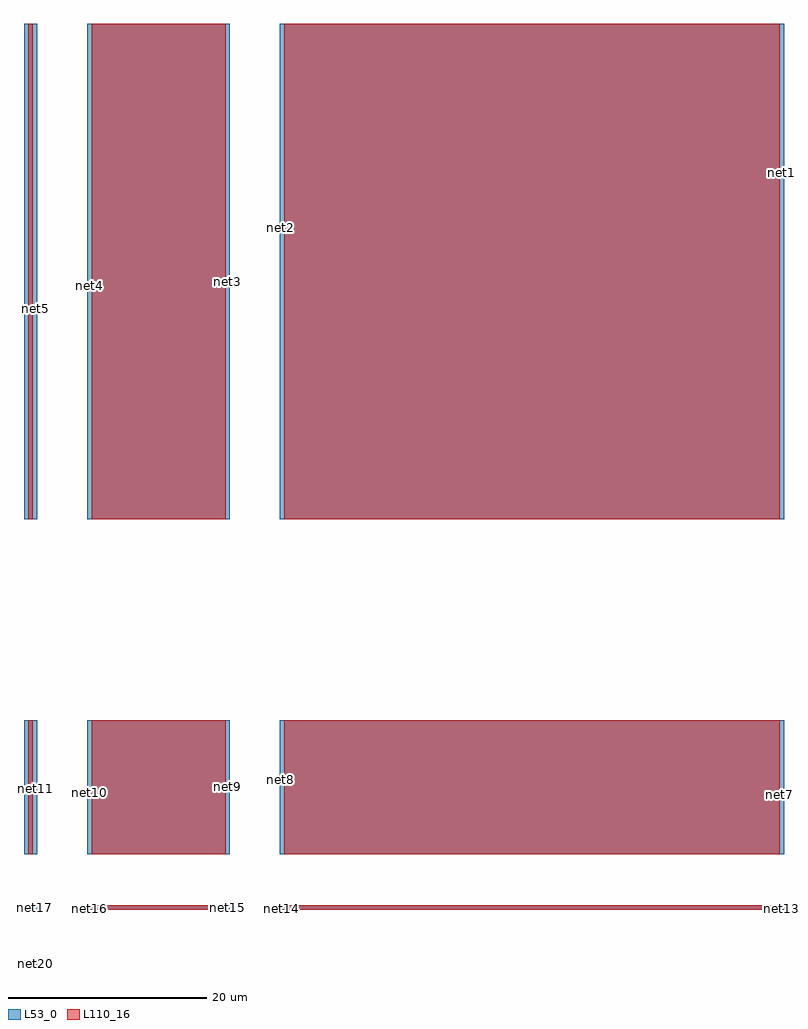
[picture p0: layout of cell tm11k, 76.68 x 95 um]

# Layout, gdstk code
import gdstk
lib = gdstk.Library(unit=1e-6, precision=1e-09)
def R(c, l, rs):  # rectangles x0, y0, x1, y1
    for r in rs: c.add(gdstk.rectangle(r[:2], r[2:], *l))
L53_0 = (53, 0)
L110_16 = (110, 16)

tm11k_cdns_630985877590 = lib.new_cell('tm11k_CDNS_630985877590')
R(tm11k_cdns_630985877590, L53_0, [(0,0,0.44,0.44), (0,0,1.32,0.44), (0.88,0,1.32,0.44)])
R(tm11k_cdns_630985877590, L110_16, [(0.44,0,0.88,0.44)])

tm11k_cdns_630985877591 = lib.new_cell('tm11k_CDNS_630985877591')
R(tm11k_cdns_630985877591, L53_0, [(0,0,0.44,0.44), (0,0,50.88,0.44), (50.44,0,50.88,0.44)])
R(tm11k_cdns_630985877591, L110_16, [(0.44,0,50.44,0.44)])

tm11k_cdns_630985877592 = lib.new_cell('tm11k_CDNS_630985877592')
R(tm11k_cdns_630985877592, L53_0, [(0,0,0.44,0.44), (0,0,1.32,0.44), (0.88,0,1.32,0.44)])
R(tm11k_cdns_630985877592, L110_16, [(0.44,0,0.88,0.44)])

tm11k_cdns_630985877593 = lib.new_cell('tm11k_CDNS_630985877593')
R(tm11k_cdns_630985877593, L53_0, [(0,0,0.44,0.44), (0,0,14.38,0.44), (13.94,0,14.38,0.44)])
R(tm11k_cdns_630985877593, L110_16, [(0.44,0,13.94,0.44)])

tm11k_cdns_630985877594 = lib.new_cell('tm11k_CDNS_630985877594')
R(tm11k_cdns_630985877594, L53_0, [(0,0,0.44,13.5), (0,0,50.88,13.5), (50.44,0,50.88,13.5)])
R(tm11k_cdns_630985877594, L110_16, [(0.44,0,50.44,13.5)])

tm11k_cdns_630985877595 = lib.new_cell('tm11k_CDNS_630985877595')
R(tm11k_cdns_630985877595, L53_0, [(0,0,0.44,13.5), (0,0,1.32,13.5), (0.88,0,1.32,13.5)])
R(tm11k_cdns_630985877595, L110_16, [(0.44,0,0.88,13.5)])

tm11k_cdns_630985877596 = lib.new_cell('tm11k_CDNS_630985877596')
R(tm11k_cdns_630985877596, L53_0, [(0,0,0.44,13.5), (0,0,14.38,13.5), (13.94,0,14.38,13.5)])
R(tm11k_cdns_630985877596, L110_16, [(0.44,0,13.94,13.5)])

tm11k_cdns_630985877597 = lib.new_cell('tm11k_CDNS_630985877597')
R(tm11k_cdns_630985877597, L53_0, [(0,0,0.44,50), (0,0,1.32,50), (0.88,0,1.32,50)])
R(tm11k_cdns_630985877597, L110_16, [(0.44,0,0.88,50)])

tm11k_cdns_630985877598 = lib.new_cell('tm11k_CDNS_630985877598')
R(tm11k_cdns_630985877598, L53_0, [(0,0,0.44,50), (0,0,14.38,50), (13.94,0,14.38,50)])
R(tm11k_cdns_630985877598, L110_16, [(0.44,0,13.94,50)])

tm11k_cdns_630985877599 = lib.new_cell('tm11k_CDNS_630985877599')
R(tm11k_cdns_630985877599, L53_0, [(0,0,0.44,50), (0,0,50.88,50), (50.44,0,50.88,50)])
R(tm11k_cdns_630985877599, L110_16, [(0.44,0,50.44,50)])

tm11k = lib.new_cell('tm11k')
tm11k.add(gdstk.Reference(tm11k_cdns_630985877590, (0,0)))
tm11k.add(gdstk.Reference(tm11k_cdns_630985877591, (25.8,5.6)))
tm11k.add(gdstk.Reference(tm11k_cdns_630985877592, (0,5.6)))
tm11k.add(gdstk.Reference(tm11k_cdns_630985877593, (6.4,5.6)))
tm11k.add(gdstk.Reference(tm11k_cdns_630985877594, (25.8,11.2)))
tm11k.add(gdstk.Reference(tm11k_cdns_630985877595, (0,11.2)))
tm11k.add(gdstk.Reference(tm11k_cdns_630985877596, (6.4,11.2)))
tm11k.add(gdstk.Reference(tm11k_cdns_630985877597, (0,45)))
tm11k.add(gdstk.Reference(tm11k_cdns_630985877598, (6.4,45)))
tm11k.add(gdstk.Reference(tm11k_cdns_630985877599, (25.8,45)))
tm11k.add(gdstk.Label('net20', (1.196,0.141), layer=53, texttype=10))
tm11k.add(gdstk.Label('net19', (0.219,0.209), layer=53, texttype=10))
tm11k.add(gdstk.Label('net1', (76.434,80.027), layer=53, texttype=10))
tm11k.add(gdstk.Label('net2', (25.834,74.448), layer=53, texttype=10))
tm11k.add(gdstk.Label('net3', (20.508,69.03), layer=53, texttype=10))
tm11k.add(gdstk.Label('net4', (6.605,68.566), layer=53, texttype=10))
tm11k.add(gdstk.Label('net5', (1.169,66.292), layer=53, texttype=10))
tm11k.add(gdstk.Label('net6', (0.193,65.558), layer=53, texttype=10))
tm11k.add(gdstk.Label('net7', (76.247,17.243), layer=53, texttype=10))
tm11k.add(gdstk.Label('net8', (25.834,18.706), layer=53, texttype=10))
tm11k.add(gdstk.Label('net9', (20.523,18.036), layer=53, texttype=10))
tm11k.add(gdstk.Label('net10', (6.64,17.454), layer=53, texttype=10))
tm11k.add(gdstk.Label('net11', (1.194,17.872), layer=53, texttype=10))
tm11k.add(gdstk.Label('net12', (0.43,17.947), layer=53, texttype=10))
tm11k.add(gdstk.Label('net13', (76.405,5.78), layer=53, texttype=10))
tm11k.add(gdstk.Label('net14', (25.972,5.771), layer=53, texttype=10))
tm11k.add(gdstk.Label('net15', (20.56,5.794), layer=53, texttype=10))
tm11k.add(gdstk.Label('net16', (6.611,5.776), layer=53, texttype=10))
tm11k.add(gdstk.Label('net17', (1.053,5.804), layer=53, texttype=10))
tm11k.add(gdstk.Label('net18', (0.179,5.79), layer=53, texttype=10))

lib.write_gds('tm11k.gds')
